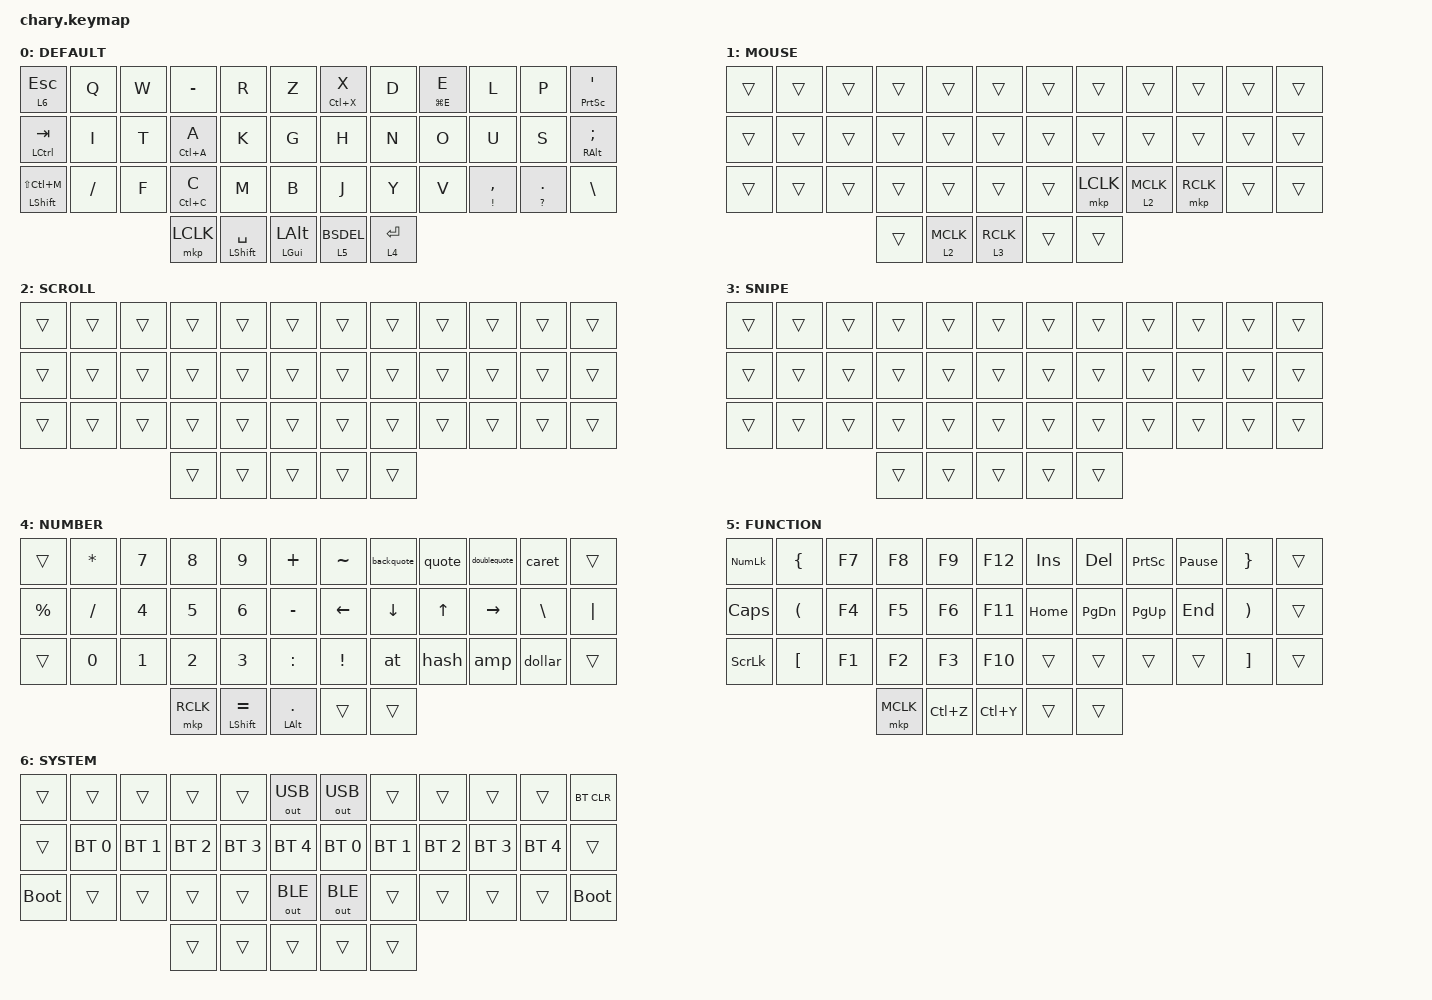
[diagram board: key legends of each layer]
#include <behaviors/mouse_keys.dtsi>
#include <dt-bindings/zmk/mouse.h>
#include <behaviors.dtsi>
#include <dt-bindings/zmk/bt.h>
#include <dt-bindings/zmk/keys.h>
#include <dt-bindings/zmk/outputs.h>
#include <dt-bindings/zmk/pointing.h>

&lt {
    tapping-term-ms = <240>;
    flavor = "balanced";
    quick-tap-ms = <150>;
};

&mt {
    tapping-term-ms = <200>;
    flavor = "tap-preferred";
    quick-tap-ms = <150>;
};

&caps_word { continue-list = <UNDERSCORE MINUS>; };

/ {
    behaviors {
        BSDEL: BSDEL {
            compatible = "zmk,behavior-mod-morph";
            label = "BSDEL";
            bindings = <&kp BACKSPACE>, <&kp DEL>;

            #binding-cells = <0>;
            mods = <(MOD_LSFT|MOD_RSFT)>;
        };

        lt_bsdel: lt_bsdel {
            compatible = "zmk,behavior-hold-tap";
            label = "LT_BSDEL";
            bindings = <&mo>, <&BSDEL>;

            #binding-cells = <2>;
            tapping-term-ms = <200>;
            flavor = "tap-preferred";
            quick-tap-ms = <300>;
        };

        holdtap: holdtap {
            compatible = "zmk,behavior-hold-tap";
            label = "HOLDTAP";
            bindings = <&kp>, <&kp>;

            #binding-cells = <2>;
            tapping-term-ms = <300>;
            quick-tap-ms = <250>;
            require-prior-idle-ms = <150>;
            flavor = "tap-preferred";
        };

        arrows: arrows {
            compatible = "zmk,behavior-hold-tap";
            bindings = <&down_up_arrow>, <&right_left_arrow>;

            #binding-cells = <2>;
            flavor = "tap-preferred";
            tapping-term-ms = <200>;
        };

        right_left_arrow: right_left_arrow {
            compatible = "zmk,behavior-mod-morph";
            bindings = <&right_arrow>, <&left_arrow>;

            #binding-cells = <0>;
            mods = <(MOD_LSFT|MOD_RSFT)>;
        };

        down_up_arrow: down_up_arrow {
            compatible = "zmk,behavior-mod-morph";
            bindings = <&down_arrow>, <&up_arrow>;

            #binding-cells = <0>;
            mods = <(MOD_LSFT|MOD_RSFT)>;
        };

        mkp_layer: mkp_layer {
            compatible = "zmk,behavior-hold-tap";
            bindings = <&mo>, <&mkp>;

            #binding-cells = <2>;
            tapping-term-ms = <200>;
        };

        sticky_mod: sticky_mod {
            compatible = "zmk,behavior-hold-tap";
            label = "STICKY_MOD";
            bindings = <&kp>, <&sk>;

            #binding-cells = <2>;
            tapping-term-ms = <300>;
        };
    };

    combos {
        compatible = "zmk,combos";

        win_mv_right {
            bindings = <&winmvright>;
            key-positions = <9 10>;
            slow-release;
            layers = <0 1>;
        };

        win_mv_left {
            bindings = <&winmvleft>;
            key-positions = <1 2>;
            slow-release;
            layers = <0 1>;
        };

        brackets {
            bindings = <&brackets>;
            key-positions = <25 34>;
            layers = <0 1>;
        };

        parenthesis {
            bindings = <&parenthesis>;
            key-positions = <13 22>;
            layers = <0 1>;
        };

        find {
            bindings = <&kp LC(F)>;
            key-positions = <25 26>;
            layers = <0 1>;
        };

        paste {
            bindings = <&holdtap LG(V) LC(V)>;
            key-positions = <19 20>;
            layers = <0 1>;
        };

        dblsft {
            bindings = <&DBLSFT>;
            key-positions = <15 16>;
            layers = <0 1>;
        };

        ime_onoff {
            bindings = <&holdtap LA(GRAVE) LANGUAGE_1>;
            key-positions = <20 21>;
            layers = <0 1>;
        };

        ime_off {
            bindings = <&kp LANGUAGE_2>;
            key-positions = <14 15>;
            layers = <0 1>;
        };

        braces {
            bindings = <&braces>;
            key-positions = <1 10>;
            layers = <0 1>;
        };

        undo {
            bindings = <&kp LC(Z)>;
            key-positions = <26 27>;
            layers = <0 1>;
        };

        redo {
            bindings = <&kp LC(Y)>;
            key-positions = <32 33>;
            layers = <0 1>;
        };

        taskview {
            bindings = <&kp LG(TAB)>;
            key-positions = <19 20>;
            layers = <4>;
        };

        home {
            bindings = <&kp HOME>;
            key-positions = <13 14>;
            layers = <0 1>;
        };

        end {
            bindings = <&kp END>;
            key-positions = <21 22>;
            layers = <0 1>;
        };

        close {
            bindings = <&holdtap LA(F4) LC(W)>;
            key-positions = <33 34>;
            layers = <0 1>;
        };
    };

    macros {
        DBLSFT: DBLSFT {
            compatible = "zmk,behavior-macro";
            #binding-cells = <0>;
            bindings = <&kp LEFT_SHIFT &kp LEFT_SHIFT>;
            label = "DBLSFT";
        };

        DBLCTL: DBLCTL {
            compatible = "zmk,behavior-macro";
            #binding-cells = <0>;
            bindings = <&kp LCTRL &kp LCTRL>;
            label = "DBLCTL";
        };

        winmvright: winmvright {
            compatible = "zmk,behavior-macro";
            #binding-cells = <0>;
            bindings =
                <&macro_press>,
                <&kp LEFT_GUI &kp RIGHT>,
                <&macro_release>,
                <&kp RIGHT &kp LEFT_WIN>;

            label = "WINMVRIGHT";
        };

        winmvleft: winmvleft {
            compatible = "zmk,behavior-macro";
            #binding-cells = <0>;
            bindings =
                <&macro_press>,
                <&kp LEFT_GUI &kp LEFT>,
                <&macro_release>,
                <&kp LEFT &kp LEFT_WIN>;

            label = "WINMVLEFT";
        };

        at: at {
            compatible = "zmk,behavior-macro";
            #binding-cells = <0>;
            bindings = <&kp LANGUAGE_2 &kp AT_SIGN>;
            label = "AT";
        };

        hash: hash {
            compatible = "zmk,behavior-macro";
            #binding-cells = <0>;
            bindings = <&kp LANGUAGE_2 &kp HASH>;
            label = "HASH";
        };

        amp: amp {
            compatible = "zmk,behavior-macro";
            #binding-cells = <0>;
            bindings = <&kp LANGUAGE_2 &kp AMPERSAND>;
            label = "AMP";
        };

        dollar: doller {
            compatible = "zmk,behavior-macro";
            #binding-cells = <0>;
            bindings = <&kp LANGUAGE_2 &kp DOLLAR>;
            label = "DOLLER";
        };

        backquote: backquote {
            compatible = "zmk,behavior-macro";
            #binding-cells = <0>;
            bindings = <&kp LANGUAGE_2 &kp GRAVE>;
            label = "BACKQUOTE";
        };

        quote: quote {
            compatible = "zmk,behavior-macro";
            #binding-cells = <0>;
            bindings = <&kp LANGUAGE_2 &kp SINGLE_QUOTE>;
            label = "QUOTE";
        };

        doublequote: doublequote {
            compatible = "zmk,behavior-macro";
            #binding-cells = <0>;
            bindings = <&kp LANGUAGE_2 &kp DOUBLE_QUOTES>;
            label = "DOUBLEQUOTE";
        };

        caret: caret {
            compatible = "zmk,behavior-macro";
            #binding-cells = <0>;
            bindings = <&kp LANGUAGE_2 &kp CARET>;
            label = "CARET";
        };

        pipe: pipe {
            compatible = "zmk,behavior-macro";
            #binding-cells = <0>;
            bindings = <&kp LANGUAGE_2 &kp PIPE>;
            label = "PIPE";
        };

        parenthesis: parenthesis {
            compatible = "zmk,behavior-macro";
            #binding-cells = <0>;
            bindings = <&kp LANGUAGE_2 &kp LEFT_PARENTHESIS &kp RIGHT_PARENTHESIS &kp LEFT_ARROW>;
            label = "PARENTHESIS";
        };

        brackets: brackets {
            compatible = "zmk,behavior-macro";
            #binding-cells = <0>;
            bindings = <&kp LANGUAGE_2 &kp LEFT_BRACKET &kp RIGHT_BRACKET &kp LEFT>;
            label = "BRACKETS";
        };

        braces: braces {
            compatible = "zmk,behavior-macro";
            #binding-cells = <0>;
            bindings = <&kp LANGUAGE_2 &kp LEFT_BRACE &kp RIGHT_BRACE &kp LEFT>;
            label = "BRACES";
        };

        right_arrow: right_arrow {
            compatible = "zmk,behavior-macro";
            #binding-cells = <0>;
            bindings =
                <&kp LANGUAGE_2 &kp KP_NUMLOCK>,
                <&macro_press>,
                <&kp LEFT_ALT>,
                <&macro_tap>,
                <&kp KP_PLUS &kp KP_NUMBER_2 &kp KP_NUMBER_1 &kp KP_NUMBER_9 &kp KP_NUMBER_2>,
                <&macro_release>,
                <&kp LEFT_ALT>,
                <&macro_tap>,
                <&kp KP_NUMLOCK>;
        };

        left_arrow: left_arrow {
            compatible = "zmk,behavior-macro";
            #binding-cells = <0>;
            bindings =
                <&kp LANGUAGE_2 &kp KP_NUMLOCK>,
                <&macro_release>,
                <&kp LEFT_SHIFT>,
                <&macro_press>,
                <&kp LEFT_ALT>,
                <&macro_tap>,
                <&kp KP_PLUS &kp KP_NUMBER_2 &kp KP_NUMBER_1 &kp KP_NUMBER_9 &kp KP_NUMBER_0>,
                <&macro_release>,
                <&kp LEFT_ALT>,
                <&macro_tap>,
                <&kp KP_NUMLOCK>;
        };

        up_arrow: up_arrow {
            compatible = "zmk,behavior-macro";
            #binding-cells = <0>;
            bindings =
                <&kp LANGUAGE_2 &kp KP_NUMLOCK>,
                <&macro_press>,
                <&kp LEFT_ALT>,
                <&macro_tap>,
                <&kp KP_PLUS &kp KP_NUMBER_2 &kp KP_NUMBER_1 &kp KP_NUMBER_9 &kp KP_NUMBER_1>,
                <&macro_release>,
                <&kp LEFT_ALT>,
                <&macro_tap>,
                <&kp KP_NUM>;
        };

        down_arrow: down_arrow {
            compatible = "zmk,behavior-macro";
            #binding-cells = <0>;
            bindings =
                <&kp LANGUAGE_2 &kp KP_NUMLOCK>,
                <&macro_press>,
                <&kp LEFT_ALT>,
                <&macro_tap>,
                <&kp KP_PLUS &kp KP_NUMBER_2 &kp KP_NUMBER_1 &kp KP_NUMBER_9 &kp KP_NUMBER_3>,
                <&macro_release>,
                <&kp LEFT_ALT>,
                <&macro_tap>,
                <&kp KP_NUMLOCK>;
        };
    };

    keymap {
        compatible = "zmk,keymap";

        DEFAULT {
            bindings = <
&lt 6 ESCAPE              &kp Q      &kp W  &kp MINUS         &kp R                 &kp Z                            &holdtap LC(X) X  &kp D        &holdtap LG(E) E  &kp L                &kp P                     &holdtap PRINTSCREEN SQT
&mt LCTRL TAB             &kp I      &kp T  &holdtap LC(A) A  &kp K                 &kp G                            &kp H             &kp N        &kp O             &kp U                &kp S                     &mt RIGHT_ALT SEMICOLON
&mt LEFT_SHIFT LS(LC(M))  &kp SLASH  &kp F  &holdtap LC(C) C  &kp M                 &kp B                            &kp J             &kp Y        &kp V             &holdtap EXCL COMMA  &holdtap QUESTION PERIOD  &kp BACKSLASH
                                            &mkp LCLK         &mt LEFT_SHIFT SPACE  &sticky_mod LEFT_GUI LEFT_ALT    &lt_bsdel 5 0     &lt 4 ENTER
            >;
        };

        MOUSE {
            bindings = <
&trans  &trans  &trans  &trans  &trans             &trans               &trans  &trans     &trans             &trans     &trans  &trans
&trans  &trans  &trans  &trans  &trans             &trans               &trans  &trans     &trans             &trans     &trans  &trans
&trans  &trans  &trans  &trans  &trans             &trans               &trans  &mkp LCLK  &mkp_layer 2 MCLK  &mkp RCLK  &trans  &trans
                        &trans  &mkp_layer 2 MCLK  &mkp_layer 3 RCLK    &trans  &trans
            >;
        };

        SCROLL {
            bindings = <
&trans  &trans  &trans  &trans  &trans  &trans    &trans  &trans  &trans  &trans  &trans  &trans
&trans  &trans  &trans  &trans  &trans  &trans    &trans  &trans  &trans  &trans  &trans  &trans
&trans  &trans  &trans  &trans  &trans  &trans    &trans  &trans  &trans  &trans  &trans  &trans
                        &trans  &trans  &trans    &trans  &trans
            >;
        };

        SNIPE {
            bindings = <
&trans  &trans  &trans  &trans  &trans  &trans    &trans  &trans  &trans  &trans  &trans  &trans
&trans  &trans  &trans  &trans  &trans  &trans    &trans  &trans  &trans  &trans  &trans  &trans
&trans  &trans  &trans  &trans  &trans  &trans    &trans  &trans  &trans  &trans  &trans  &trans
                        &trans  &trans  &trans    &trans  &trans
            >;
        };

        NUMBER {
            bindings = <
&trans       &kp ASTERISK  &kp NUMBER_7  &kp NUMBER_8  &kp NUMBER_9          &kp PLUS               &kp TILDE        &backquote  &quote  &doublequote  &caret         &trans
&kp PERCENT  &kp SLASH     &kp NUMBER_4  &kp NUMBER_5  &kp NUMBER_6          &kp MINUS              &kp LEFT         &kp DOWN    &kp UP  &kp RIGHT     &kp BACKSLASH  &kp PIPE
&trans       &kp NUMBER_0  &kp NUMBER_1  &kp NUMBER_2  &kp NUMBER_3          &kp COLON              &kp EXCLAMATION  &at         &hash   &amp          &dollar        &trans
                                         &mkp RCLK     &mt LEFT_SHIFT EQUAL  &mt LEFT_ALT PERIOD    &trans           &trans
            >;
        };

        FUNCTION {
            bindings = <
&kp KP_NUMLOCK  &kp LEFT_BRACE        &kp F7  &kp F8     &kp F9     &kp F12      &kp INS   &kp DEL        &kp PRINTSCREEN  &kp PAUSE_BREAK  &kp RIGHT_BRACE        &trans
&kp CAPSLOCK    &kp LEFT_PARENTHESIS  &kp F4  &kp F5     &kp F6     &kp F11      &kp HOME  &kp PAGE_DOWN  &kp PG_UP        &kp END          &kp RIGHT_PARENTHESIS  &trans
&kp SCROLLLOCK  &kp LEFT_BRACKET      &kp F1  &kp F2     &kp F3     &kp F10      &trans    &trans         &trans           &trans           &kp RIGHT_BRACKET      &trans
                                              &mkp MCLK  &kp LC(Z)  &kp LC(Y)    &trans    &trans
            >;
        };

        SYSTEM {
            bindings = <
&trans       &trans        &trans        &trans        &trans        &out OUT_USB    &out OUT_USB  &trans        &trans        &trans        &trans        &bt BT_CLR
&trans       &bt BT_SEL 0  &bt BT_SEL 1  &bt BT_SEL 2  &bt BT_SEL 3  &bt BT_SEL 4    &bt BT_SEL 0  &bt BT_SEL 1  &bt BT_SEL 2  &bt BT_SEL 3  &bt BT_SEL 4  &trans
&bootloader  &trans        &trans        &trans        &trans        &out OUT_BLE    &out OUT_BLE  &trans        &trans        &trans        &trans        &bootloader
                                         &trans        &trans        &trans          &trans        &trans
            >;
        };
    };
};
